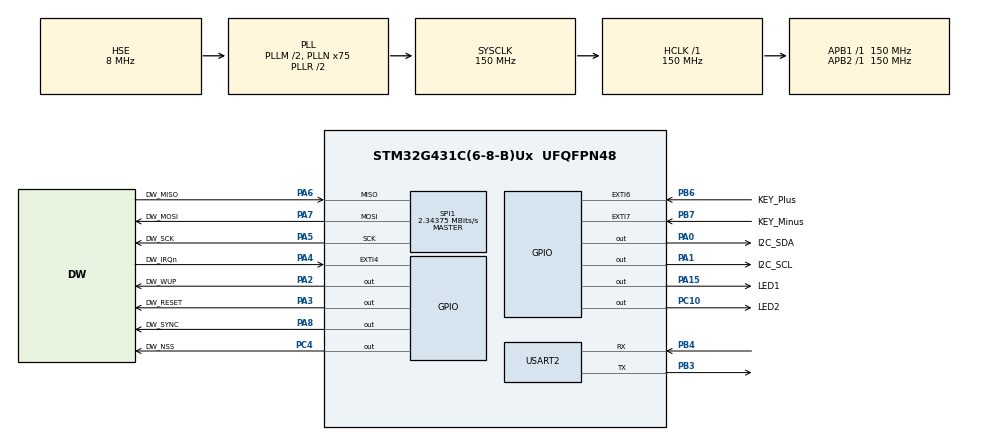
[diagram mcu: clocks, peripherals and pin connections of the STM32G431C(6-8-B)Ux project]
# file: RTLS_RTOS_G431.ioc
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Dma.Request0=USART2_RX
Dma.Request1=USART2_TX
Dma.USART2_RX.0.Direction=DMA_PERIPH_TO_MEMORY
Dma.USART2_RX.0.EventEnable=DISABLE
Dma.USART2_RX.0.Instance=DMA1_Channel1
Dma.USART2_RX.0.MemDataAlignment=DMA_MDATAALIGN_BYTE
Dma.USART2_RX.0.MemInc=DMA_MINC_ENABLE
Dma.USART2_RX.0.Mode=DMA_CIRCULAR
Dma.USART2_RX.0.PeriphDataAlignment=DMA_PDATAALIGN_BYTE
Dma.USART2_RX.0.PeriphInc=DMA_PINC_DISABLE
Dma.USART2_RX.0.Polarity=HAL_DMAMUX_REQ_GEN_RISING
Dma.USART2_RX.0.Priority=DMA_PRIORITY_LOW
Dma.USART2_RX.0.RequestNumber=1
Dma.USART2_RX.0.SignalID=NONE
Dma.USART2_RX.0.SyncEnable=DISABLE
Dma.USART2_RX.0.SyncPolarity=HAL_DMAMUX_SYNC_NO_EVENT
Dma.USART2_RX.0.SyncRequestNumber=1
Dma.USART2_RX.0.SyncSignalID=NONE
Dma.USART2_TX.1.Direction=DMA_MEMORY_TO_PERIPH
Dma.USART2_TX.1.EventEnable=DISABLE
Dma.USART2_TX.1.Instance=DMA1_Channel2
Dma.USART2_TX.1.MemDataAlignment=DMA_MDATAALIGN_BYTE
Dma.USART2_TX.1.MemInc=DMA_MINC_ENABLE
Dma.USART2_TX.1.Mode=DMA_NORMAL
Dma.USART2_TX.1.PeriphDataAlignment=DMA_PDATAALIGN_BYTE
Dma.USART2_TX.1.PeriphInc=DMA_PINC_DISABLE
Dma.USART2_TX.1.Polarity=HAL_DMAMUX_REQ_GEN_RISING
Dma.USART2_TX.1.Priority=DMA_PRIORITY_LOW
Dma.USART2_TX.1.RequestNumber=1
Dma.USART2_TX.1.SignalID=NONE
Dma.USART2_TX.1.SyncEnable=DISABLE
Dma.USART2_TX.1.SyncPolarity=HAL_DMAMUX_SYNC_NO_EVENT
Dma.USART2_TX.1.SyncRequestNumber=1
Dma.USART2_TX.1.SyncSignalID=NONE
FREERTOS.BinarySemaphores01=KEY_EVENT_SEMA,Dynamic,NULL;UART_RX_SEMA,Dynamic,NULL
FREERTOS.Events01=KEY_EVENT,Dynamic,NULL
FREERTOS.INCLUDE_xSemaphoreGetMutexHolder=1
FREERTOS.Queues01=FLASH_LED_Q,1,LED_Param,0,Dynamic,NULL,NULL;SerialOut_Q,4,uint8_t,0,Dynamic,NULL,NULL
FREERTOS.Tasks01=defaultTask,24,80,StartDefaultTask,Default,NULL,Dynamic,NULL,NULL;Flash_LED,24,100,Flash_LED_Task,Default,NULL,Dynamic,NULL,NULL;Key_Event_Scan,24,100,Key_Event_Scan_Task,Default,NULL,Dynamic,NULL,NULL;Key_Process,24,80,Key_Process_Task,Default,NULL,Dynamic,NULL,NULL;Task_Status,32,200,Task_Status_Task,Default,NULL,Dynamic,NULL,NULL;Parse_RX,24,150,Parse_RX_Task,Default,NULL,Dynamic,NULL,NULL;OLED_Display,24,150,OLED_Display_Task,Default,NULL,Dynamic,NULL,NULL;DW_Init,24,150,DW_Init_Task,As external,NULL,Dynamic,NULL,NULL;DW_Main,16,350,DW_Main_Task,As external,NULL,Dynamic,NULL,NULL;SerialOut,15,120,SerialOut_Task,Default,NULL,Dynamic,NULL,NULL
FREERTOS.configENABLE_FPU=1
FREERTOS.configGENERATE_RUN_TIME_STATS=1
FREERTOS.configMINIMAL_STACK_SIZE=64
FREERTOS.configTOTAL_HEAP_SIZE=16384
FREERTOS.configUSE_STATS_FORMATTING_FUNCTIONS=1
FREERTOS.configUSE_TICKLESS_IDLE=1
IWDG.Prescaler=IWDG_PRESCALER_16
Mcu.Family=STM32G4
Mcu.Name=STM32G431C(6-8-B)Ux
Mcu.Package=UFQFPN48
NVIC.DMA1_Channel1_IRQn=true\:5\:0\:false\:false\:true\:true\:false\:true\:true
NVIC.DMA1_Channel2_IRQn=true\:5\:0\:false\:false\:true\:true\:false\:true\:true
NVIC.EXTI4_IRQn=true\:5\:0\:true\:false\:true\:true\:true\:true\:true
NVIC.EXTI9_5_IRQn=true\:5\:0\:true\:false\:true\:true\:true\:true\:true
NVIC.PriorityGroup=NVIC_PRIORITYGROUP_4
NVIC.TIM6_DAC_IRQn=true\:5\:0\:false\:false\:true\:true\:true\:true\:true
NVIC.TIM7_IRQn=true\:15\:0\:false\:false\:true\:false\:false\:true\:true
NVIC.TimeBase=TIM7_IRQn
NVIC.TimeBaseIP=TIM7
NVIC.USART2_IRQn=true\:5\:0\:false\:false\:true\:true\:true\:true\:true
PA0.GPIO_Label=I2C_SDA
PA0.GPIO_ModeDefaultOutputPP=GPIO_MODE_OUTPUT_OD
PA0.GPIO_PuPd=GPIO_NOPULL
PA0.GPIO_Speed=GPIO_SPEED_FREQ_MEDIUM
PA0.Signal=GPIO_Output
PA1.GPIO_Label=I2C_SCL
PA1.GPIO_ModeDefaultOutputPP=GPIO_MODE_OUTPUT_OD
PA1.GPIO_PuPd=GPIO_NOPULL
PA1.GPIO_Speed=GPIO_SPEED_FREQ_MEDIUM
PA1.Signal=GPIO_Output
PA13.Mode=Serial_Wire
PA13.Signal=SYS_JTMS-SWDIO
PA14.Mode=Serial_Wire
PA14.Signal=SYS_JTCK-SWCLK
PA15.GPIO_Label=LED1
PA15.PinState=GPIO_PIN_SET
PA15.Signal=GPIO_Output
PA2.GPIO_Label=DW_WUP
PA2.GPIO_PuPd=GPIO_PULLDOWN
PA2.Signal=GPIO_Output
PA3.GPIO_Label=DW_RESET
PA3.GPIO_ModeDefaultOutputPP=GPIO_MODE_OUTPUT_OD
PA3.GPIO_PuPd=GPIO_NOPULL
PA3.GPIO_Speed=GPIO_SPEED_FREQ_LOW
PA3.Signal=GPIO_Output
PA4.GPIO_Label=DW_IRQn
PA4.GPIO_PuPd=GPIO_PULLDOWN
PA4.Signal=GPXTI4
PA5.GPIO_Label=DW_SCK
PA5.GPIO_Speed=GPIO_SPEED_FREQ_VERY_HIGH
PA5.Mode=Full_Duplex_Master
PA5.Signal=SPI1_SCK
PA6.GPIO_Label=DW_MISO
PA6.GPIO_Speed=GPIO_SPEED_FREQ_VERY_HIGH
PA6.Mode=Full_Duplex_Master
PA6.Signal=SPI1_MISO
PA7.GPIO_Label=DW_MOSI
PA7.GPIO_Speed=GPIO_SPEED_FREQ_VERY_HIGH
PA7.Mode=Full_Duplex_Master
PA7.Signal=SPI1_MOSI
PA8.GPIO_Label=DW_SYNC
PA8.GPIO_Speed=GPIO_SPEED_FREQ_HIGH
PA8.Signal=GPIO_Output
PB3.Mode=Asynchronous
PB3.Signal=USART2_TX
PB4.Mode=Asynchronous
PB4.Signal=USART2_RX
PB6.GPIO_Label=KEY_Plus
PB6.GPIO_ModeDefaultEXTI=GPIO_MODE_IT_RISING_FALLING
PB6.GPIO_PuPd=GPIO_PULLUP
PB6.Signal=GPXTI6
PB7.GPIO_Label=KEY_Minus
PB7.GPIO_ModeDefaultEXTI=GPIO_MODE_IT_RISING_FALLING
PB7.GPIO_PuPd=GPIO_PULLUP
PB7.Signal=GPXTI7
PC10.GPIO_Label=LED2
PC10.PinState=GPIO_PIN_SET
PC10.Signal=GPIO_Output
PC4.GPIO_Label=DW_NSS
PC4.GPIO_PuPd=GPIO_PULLUP
PC4.GPIO_Speed=GPIO_SPEED_FREQ_MEDIUM
PC4.Signal=GPIO_Output
PF0-OSC_IN.Mode=HSE-External-Oscillator
PF0-OSC_IN.Signal=RCC_OSC_IN
PF1-OSC_OUT.Mode=HSE-External-Oscillator
PF1-OSC_OUT.Signal=RCC_OSC_OUT
ProjectManager.HeapSize=0x200
ProjectManager.StackSize=0x200
ProjectManager.TargetToolchain=Makefile
RCC.ADC12Freq_Value=150000000
RCC.AHBFreq_Value=150000000
RCC.APB1Freq_Value=150000000
RCC.APB1TimFreq_Value=150000000
RCC.APB2Freq_Value=150000000
RCC.APB2TimFreq_Value=150000000
RCC.CortexFreq_Value=150000000
RCC.EXTERNAL_CLOCK_VALUE=12288000
RCC.HCLKFreq_Value=150000000
RCC.HSE_VALUE=8000000
RCC.HSI48_VALUE=48000000
RCC.HSI_VALUE=16000000
RCC.LSE_VALUE=32768
RCC.PLLM=RCC_PLLM_DIV2
RCC.PLLN=75
RCC.PLLSourceVirtual=RCC_PLLSOURCE_HSE
RCC.PWR_Regulator_Voltage_Scale=PWR_REGULATOR_VOLTAGE_SCALE1
RCC.SYSCLKFreq_VALUE=150000000
RCC.SYSCLKSource=RCC_SYSCLKSOURCE_PLLCLK
RCC.USART2CLockSelection=RCC_USART2CLKSOURCE_HSI
RCC.USBFreq_Value=150000000
RCC.VCOOutputFreq_Value=300000000
SPI1.BaudRatePrescaler=SPI_BAUDRATEPRESCALER_64
SPI1.CalculateBaudRate=2.34375 MBits/s
SPI1.DataSize=SPI_DATASIZE_8BIT
SPI1.Direction=SPI_DIRECTION_2LINES
SPI1.Mode=SPI_MODE_MASTER
SPI1.VirtualType=VM_MASTER
TIM6.PeriodNoDither=60-1
TIM6.Prescaler=150-1
USART2.VirtualMode-Asynchronous=VM_ASYNC
VP_FREERTOS_VS_CMSIS_V2.Mode=CMSIS_V2
VP_IWDG_VS_IWDG.Mode=IWDG_Activate
VP_SYS_VS_DBSignals.Mode=DisableDeadBatterySignals
VP_SYS_VS_tim7.Mode=TIM7
VP_TIM6_VS_ClockSourceINT.Mode=Enable_Timer
board=custom

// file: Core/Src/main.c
/* USER CODE BEGIN Header */
/**
 ******************************************************************************
 * @file           : main.c
 * @brief          : Main program body
 ******************************************************************************
 * @attention
 *
 * Copyright (c) 2023 STMicroelectronics.
 * All rights reserved.
 *
 * This software is licensed under terms that can be found in the LICENSE file
 * in the root directory of this software component.
 * If no LICENSE file comes with this software, it is provided AS-IS.
 *
 ******************************************************************************
 */
/* USER CODE END Header */
#include "main.h"
#include "cmsis_os.h"
#include "dma.h"
#include "iwdg.h"
#include "spi.h"
#include "tim.h"
#include "usart.h"
#include "gpio.h"

/* USER CODE BEGIN Includes */
#include "key.h"
#include "delay.h"
#include "ctiic.h"
#include "ssd1306.h"
#include "eeprom.h"
#include "dw_app.h"
#include <errno.h>
#include <sys/unistd.h>
/* USER CODE END Includes */

/* USER CODE BEGIN PD */
#define SOFTWARE_VER_STRING "RTLS V1"
/* USER CODE END PD */

/* USER CODE BEGIN PV */
#if configGENERATE_RUN_TIME_STATS == 1
uint32_t g_osRuntimeCounter = 0;
#endif
extern uint8_t UART_RX_BUF[1];
/* USER CODE END PV */

void SystemClock_Config(void);
void MX_FREERTOS_Init(void);

int main(void)
{

  /* MCU Configuration--------------------------------------------------------*/

  /* Reset of all peripherals, Initializes the Flash interface and the Systick. */
  HAL_Init();

  /* Configure the system clock */
  SystemClock_Config();

  /* Initialize all configured peripherals */
  MX_GPIO_Init();
  MX_DMA_Init();
  MX_IWDG_Init();
  MX_SPI1_Init();
  MX_USART2_UART_Init();
  MX_TIM6_Init();
  /* USER CODE BEGIN 2 */
  delay_init();
  KEY_Config();
  SSD1306_Init();
  LCD_Title(SOFTWARE_VER_STRING);

  HAL_TIM_Base_Start_IT(&htim6);
  HAL_UART_Receive_DMA(&huart2, &UART_RX_BUF[0], 1);
  HAL_IWDG_Refresh(&hiwdg);
  if (AT24CXX_Check())
  {
    Write_UWB_Default_Param();
    AT24CXX_WriteOneByte(0x000, EEPROM_DATAFORMAT);
    HAL_Delay(20);
  }
  init_UWB_User_Param();
  LCD_DISPLAY_UWB();
  /* USER CODE END 2 */

  /* Init scheduler */
  osKernelInitialize(); /* Call init function for freertos objects (in freertos.c) */
  MX_FREERTOS_Init();

  /* Start scheduler */
  osKernelStart();

  /* We should never get here as control is now taken by the scheduler */
  /* Infinite loop */
  while (1)
  {

  }
}

void SystemClock_Config(void)
{
  RCC_OscInitTypeDef RCC_OscInitStruct = {0};
  RCC_ClkInitTypeDef RCC_ClkInitStruct = {0};

  /** Configure the main internal regulator output voltage
   */
  HAL_PWREx_ControlVoltageScaling(PWR_REGULATOR_VOLTAGE_SCALE1);

  /** Initializes the RCC Oscillators according to the specified parameters
   * in the RCC_OscInitTypeDef structure.
   */
  RCC_OscInitStruct.OscillatorType = RCC_OSCILLATORTYPE_HSI | RCC_OSCILLATORTYPE_LSI | RCC_OSCILLATORTYPE_HSE;
  RCC_OscInitStruct.HSEState = RCC_HSE_ON;
  RCC_OscInitStruct.HSIState = RCC_HSI_ON;
  RCC_OscInitStruct.HSICalibrationValue = RCC_HSICALIBRATION_DEFAULT;
  RCC_OscInitStruct.LSIState = RCC_LSI_ON;
  RCC_OscInitStruct.PLL.PLLState = RCC_PLL_ON;
  RCC_OscInitStruct.PLL.PLLSource = RCC_PLLSOURCE_HSE;
  RCC_OscInitStruct.PLL.PLLM = RCC_PLLM_DIV2;
  RCC_OscInitStruct.PLL.PLLN = 75;
  RCC_OscInitStruct.PLL.PLLP = RCC_PLLP_DIV2;
  RCC_OscInitStruct.PLL.PLLQ = RCC_PLLQ_DIV2;
  RCC_OscInitStruct.PLL.PLLR = RCC_PLLR_DIV2;
  if (HAL_RCC_OscConfig(&RCC_OscInitStruct) != HAL_OK)
  {
    Error_Handler();
  }

  /** Initializes the CPU, AHB and APB buses clocks
   */
  RCC_ClkInitStruct.ClockType = RCC_CLOCKTYPE_HCLK | RCC_CLOCKTYPE_SYSCLK | RCC_CLOCKTYPE_PCLK1 | RCC_CLOCKTYPE_PCLK2;
  RCC_ClkInitStruct.SYSCLKSource = RCC_SYSCLKSOURCE_PLLCLK;
  RCC_ClkInitStruct.AHBCLKDivider = RCC_SYSCLK_DIV1;
  RCC_ClkInitStruct.APB1CLKDivider = RCC_HCLK_DIV1;
  RCC_ClkInitStruct.APB2CLKDivider = RCC_HCLK_DIV1;

  if (HAL_RCC_ClockConfig(&RCC_ClkInitStruct, FLASH_LATENCY_4) != HAL_OK)
  {
    Error_Handler();
  }
}

/* USER CODE BEGIN 4 */
int _write(int file, char *data, int len)
{
  if ((file != STDOUT_FILENO) && (file != STDERR_FILENO))
  {
    errno = EBADF;
    return -1;
  }

  // memcpy(UART_Transmit_Buff, data, len);
  //  arbitrary timeout 1000

  HAL_StatusTypeDef status =
      HAL_UART_Transmit(&huart2, (uint8_t *)data, len, 1000);

  // return # of bytes written - as best we can tell

  /* while (!__HAL_UART_GET_FLAG(&huart1, UART_FLAG_TC))
    ; */
  // memset(UART_Transmit_Buff, 0, 50);
  return (status == HAL_OK ? len : 0);
}
/* USER CODE END 4 */

void HAL_TIM_PeriodElapsedCallback(TIM_HandleTypeDef *htim)
{
  if (htim->Instance == TIM7)
  {
    HAL_IncTick();
  }
  /* USER CODE BEGIN Callback 1 */
  if (htim->Instance == TIM6)
    g_osRuntimeCounter++;
  /* USER CODE END Callback 1 */
}

void Error_Handler(void)
{
  __disable_irq();
  while (1)
  {
  }
}

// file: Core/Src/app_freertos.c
/* USER CODE BEGIN Header */
/**
 ******************************************************************************
 * File Name          : app_freertos.c
 * Description        : Code for freertos applications
 ******************************************************************************
 * @attention
 *
 * Copyright (c) 2023 STMicroelectronics.
 * All rights reserved.
 *
 * This software is licensed under terms that can be found in the LICENSE file
 * in the root directory of this software component.
 * If no LICENSE file comes with this software, it is provided AS-IS.
 *
 ******************************************************************************
 */
/* USER CODE END Header */

#include "FreeRTOS.h"
#include "task.h"
#include "main.h"
#include "cmsis_os.h"

/* USER CODE BEGIN Includes */
#include "key.h"
#include "iwdg.h"
#include "led.h"
#include "stdio.h"
#include "string.h"
#include "usart.h"
#include "ssd1306.h"
#include "eeprom.h"
#include "dw_app.h"
/* USER CODE END Includes */

/* USER CODE BEGIN PD */
// #define __DEBUG_INFO
/* USER CODE END PD */

/* USER CODE BEGIN Variables */
#if configGENERATE_RUN_TIME_STATS == 1
extern uint32_t g_osRuntimeCounter;

#endif
extern uint8_t UART_RX_DATA[256];
/* USER CODE END Variables */
/* Definitions for defaultTask */
osThreadId_t defaultTaskHandle;
const osThreadAttr_t defaultTask_attributes = {
    .name = "defaultTask",
    .priority = (osPriority_t)osPriorityNormal,
    .stack_size = 80 * 4};
/* Definitions for Flash_LED */
osThreadId_t Flash_LEDHandle;
const osThreadAttr_t Flash_LED_attributes = {
    .name = "Flash_LED",
    .priority = (osPriority_t)osPriorityNormal,
    .stack_size = 100 * 4};
/* Definitions for Key_Event_Scan */
osThreadId_t Key_Event_ScanHandle;
const osThreadAttr_t Key_Event_Scan_attributes = {
    .name = "Key_Event_Scan",
    .priority = (osPriority_t)osPriorityNormal,
    .stack_size = 100 * 4};
/* Definitions for Key_Process */
osThreadId_t Key_ProcessHandle;
const osThreadAttr_t Key_Process_attributes = {
    .name = "Key_Process",
    .priority = (osPriority_t)osPriorityNormal,
    .stack_size = 80 * 4};
/* Definitions for Task_Status */
osThreadId_t Task_StatusHandle;
const osThreadAttr_t Task_Status_attributes = {
    .name = "Task_Status",
    .priority = (osPriority_t)osPriorityAboveNormal,
    .stack_size = 200 * 4};
/* Definitions for Parse_RX */
osThreadId_t Parse_RXHandle;
const osThreadAttr_t Parse_RX_attributes = {
    .name = "Parse_RX",
    .priority = (osPriority_t)osPriorityNormal,
    .stack_size = 150 * 4};
/* Definitions for OLED_Display */
osThreadId_t OLED_DisplayHandle;
const osThreadAttr_t OLED_Display_attributes = {
    .name = "OLED_Display",
    .priority = (osPriority_t)osPriorityNormal,
    .stack_size = 150 * 4};
/* Definitions for DW_Init */
osThreadId_t DW_InitHandle;
const osThreadAttr_t DW_Init_attributes = {
    .name = "DW_Init",
    .priority = (osPriority_t)osPriorityNormal,
    .stack_size = 150 * 4};
/* Definitions for DW_Main */
osThreadId_t DW_MainHandle;
const osThreadAttr_t DW_Main_attributes = {
    .name = "DW_Main",
    .priority = (osPriority_t)osPriorityBelowNormal,
    .stack_size = 350 * 4};
/* Definitions for SerialOut */
osThreadId_t SerialOutHandle;
const osThreadAttr_t SerialOut_attributes = {
    .name = "SerialOut",
    .priority = (osPriority_t)osPriorityLow7,
    .stack_size = 120 * 4};
/* Definitions for FLASH_LED_Q */
osMessageQueueId_t FLASH_LED_QHandle;
const osMessageQueueAttr_t FLASH_LED_Q_attributes = {
    .name = "FLASH_LED_Q"};
/* Definitions for SerialOut_Q */
osMessageQueueId_t SerialOut_QHandle;
const osMessageQueueAttr_t SerialOut_Q_attributes = {
    .name = "SerialOut_Q"};
/* Definitions for KEY_EVENT_SEMA */
osSemaphoreId_t KEY_EVENT_SEMAHandle;
const osSemaphoreAttr_t KEY_EVENT_SEMA_attributes = {
    .name = "KEY_EVENT_SEMA"};
/* Definitions for UART_RX_SEMA */
osSemaphoreId_t UART_RX_SEMAHandle;
const osSemaphoreAttr_t UART_RX_SEMA_attributes = {
    .name = "UART_RX_SEMA"};
/* Definitions for KEY_EVENT */
osEventFlagsId_t KEY_EVENTHandle;
const osEventFlagsAttr_t KEY_EVENT_attributes = {
    .name = "KEY_EVENT"};

void StartDefaultTask(void *argument);
void Flash_LED_Task(void *argument);
void Key_Event_Scan_Task(void *argument);
void Key_Process_Task(void *argument);
void Task_Status_Task(void *argument);
void Parse_RX_Task(void *argument);
void OLED_Display_Task(void *argument);
extern void DW_Init_Task(void *argument);
extern void DW_Main_Task(void *argument);
void SerialOut_Task(void *argument);

void MX_FREERTOS_Init(void); /* (MISRA C 2004 rule 8.1) */

/* Hook prototypes */
void configureTimerForRunTimeStats(void);
unsigned long getRunTimeCounterValue(void);

/* USER CODE BEGIN 1 */
/* Functions needed when configGENERATE_RUN_TIME_STATS is on */
__weak void configureTimerForRunTimeStats(void)
{
  g_osRuntimeCounter = 0;
}

__weak unsigned long getRunTimeCounterValue(void)
{
  return g_osRuntimeCounter;
}
/* USER CODE END 1 */

/* USER CODE BEGIN PREPOSTSLEEP */
__weak void PreSleepProcessing(uint32_t ulExpectedIdleTime)
{
  /* place for user code */
}

__weak void PostSleepProcessing(uint32_t ulExpectedIdleTime)
{
  /* place for user code */
}
/* USER CODE END PREPOSTSLEEP */

void MX_FREERTOS_Init(void)
{

  /* Create the semaphores(s) */
  /* creation of KEY_EVENT_SEMA */
  KEY_EVENT_SEMAHandle = osSemaphoreNew(1, 1, &KEY_EVENT_SEMA_attributes);

  /* creation of UART_RX_SEMA */
  UART_RX_SEMAHandle = osSemaphoreNew(1, 1, &UART_RX_SEMA_attributes);

  /* Create the queue(s) */
  /* creation of FLASH_LED_Q */
  FLASH_LED_QHandle = osMessageQueueNew(1, sizeof(LED_Param), &FLASH_LED_Q_attributes);

  /* creation of SerialOut_Q */
  SerialOut_QHandle = osMessageQueueNew(4, sizeof(uint8_t), &SerialOut_Q_attributes);

  /* Create the thread(s) */
  /* creation of defaultTask */
  defaultTaskHandle = osThreadNew(StartDefaultTask, NULL, &defaultTask_attributes);

  /* creation of Flash_LED */
  Flash_LEDHandle = osThreadNew(Flash_LED_Task, NULL, &Flash_LED_attributes);

  /* creation of Key_Event_Scan */
  Key_Event_ScanHandle = osThreadNew(Key_Event_Scan_Task, NULL, &Key_Event_Scan_attributes);

  /* creation of Key_Process */
  Key_ProcessHandle = osThreadNew(Key_Process_Task, NULL, &Key_Process_attributes);

  /* creation of Task_Status */
  Task_StatusHandle = osThreadNew(Task_Status_Task, NULL, &Task_Status_attributes);

  /* creation of Parse_RX */
  Parse_RXHandle = osThreadNew(Parse_RX_Task, NULL, &Parse_RX_attributes);

  /* creation of OLED_Display */
  OLED_DisplayHandle = osThreadNew(OLED_Display_Task, NULL, &OLED_Display_attributes);

  /* creation of DW_Init */
  DW_InitHandle = osThreadNew(DW_Init_Task, NULL, &DW_Init_attributes);

  /* creation of DW_Main */
  DW_MainHandle = osThreadNew(DW_Main_Task, NULL, &DW_Main_attributes);

  /* creation of SerialOut */
  SerialOutHandle = osThreadNew(SerialOut_Task, NULL, &SerialOut_attributes);

  /* Create the event(s) */
  /* creation of KEY_EVENT */
  KEY_EVENTHandle = osEventFlagsNew(&KEY_EVENT_attributes);

}

void StartDefaultTask(void *argument)
{
  /* USER CODE BEGIN StartDefaultTask */
  ulTaskNotifyTake(pdTRUE, portMAX_DELAY);
  /* Infinite loop */
  for (;;)
  {
    HAL_IWDG_Refresh(&hiwdg);
    HAL_GPIO_TogglePin(LED2_GPIO_Port, LED2_Pin);
    osDelay(500);
  }
  /* USER CODE END StartDefaultTask */
}

void Flash_LED_Task(void *argument)
{
  /* USER CODE BEGIN Flash_LED_Task */
  /* Infinite loop */
  for (LED_Param led_param;;)
  {
    if (pdTRUE == xQueueReceive(FLASH_LED_QHandle, (void *)&led_param, portMAX_DELAY))
      Flash_LED(led_param.led, led_param.interval, led_param.count, led_param.cond);
    osDelay(50);
  }
  /* USER CODE END Flash_LED_Task */
}

void Key_Event_Scan_Task(void *argument)
{
  /* USER CODE BEGIN Key_Event_Scan_Task */
  /* Infinite loop */
  for (;;)
  {
    if (pdTRUE == xSemaphoreTake(KEY_EVENT_SEMAHandle, portMAX_DELAY))
      KEY_Scan();
    osDelay(50);
  }
  /* USER CODE END Key_Event_Scan_Task */
}

void Key_Process_Task(void *argument)
{
  /* USER CODE BEGIN Key_Process_Task */
  /* Infinite loop */
  for (;;)
  {
    for (int i = 0; i < KEYS; i++)
      KEY_Process(i);
    osDelay(pdMS_TO_TICKS(100));
  }
  /* USER CODE END Key_Process_Task */
}

/* USER CODE BEGIN Header_Task_Status_Task */
/**
 * @brief Function implementing the Task_Status thread.
 * @param argument: Not used
 * @retval None
 */
#if configGENERATE_RUN_TIME_STATS == 1
char tasks_buf[512];
#endif
/* USER CODE END Header_Task_Status_Task */
void Task_Status_Task(void *argument)
{
  /* USER CODE BEGIN Task_Status_Task */
  /* Infinite loop */
  for (;;)
  {
#ifdef __DEBUG_INFO
    memset(tasks_buf, 0, 512);
    printf("任务名称\t运行状态\t优先级\t剩余堆栈\t任务序号\r\n");
    printf("-------------------------------------------------------\r\n");
    vTaskList(tasks_buf);
    strcat((char *)tasks_buf, "-------------------------------------------------------\r\n");
    strcat((char *)tasks_buf, "B: 阻塞, R: 就绪, D: 删除, S: 暂停\r\n\r\n");
    printf("%s", tasks_buf);
    memset(tasks_buf, 0, 512);
    vTaskGetRunTimeStats(tasks_buf);
    printf("\r\n任务名称\t运行计数\t\t使用率\r\n");
    printf("----------------------------------------------\r\n");
    strcat((char *)tasks_buf, "---------------------结 束---------------------\r\n");
    printf("%s", tasks_buf);
    printf("剩余内存: %d bytes.\r\n\r\n", xPortGetFreeHeapSize());
#endif
    osDelay(3000);
  }
  /* USER CODE END Task_Status_Task */
}

void Parse_RX_Task(void *argument)
{
  /* USER CODE BEGIN Parse_RX_Task */
  /* Infinite loop */
  for (;;)
  {
    if (pdTRUE == xSemaphoreTake(UART_RX_SEMAHandle, portMAX_DELAY))
    {

      uint8_t rx_len = strlen((char *)UART_RX_DATA);
      LED_Param flashParam;
      flashParam.led = LED_YELLOW;
      flashParam.cond = LIGHT_OFF;
      flashParam.count = rx_len;
      flashParam.interval = 15;
      xQueueSend(FLASH_LED_QHandle, (void *)&flashParam, pdMS_TO_TICKS(500));

      taskENTER_CRITICAL();
      Parse_RX();
      memset(UART_RX_DATA, 0, 256);
      taskEXIT_CRITICAL();
    }
    osDelay(1);
  }
  /* USER CODE END Parse_RX_Task */
}

void OLED_Display_Task(void *argument)
{
  /* USER CODE BEGIN OLED_Display_Task */
  /* Infinite loop */
  LED_Param flashParam;
  for (uint8_t dead_time = 0;;)
  {
    // 进入设置模式后，无操作大约3秒，自动退出并保存参数，并重启模块
    if (dead_time > 15)
    {
      xEventGroupClearBits(KEY_EVENTHandle, EVENTBIT_KEY_MINUS_LONGPRESS | EVENTBIT_KEY_PLUS_LONGPRESS);
      save_UWB_User_Param();
      flashParam.led = LED_YELLOW;
      flashParam.cond = LIGHT_OFF;
      flashParam.count = 4;
      flashParam.interval = 40;
      xQueueSend(FLASH_LED_QHandle, (void *)&flashParam, pdMS_TO_TICKS(500));
      dead_time = 0;
      LCD_DISPLAY_UWB();
      vTaskDelete(DW_MainHandle);
      osDelay(10);
      DW_MainHandle = osThreadNew(DW_Main_Task, NULL, &DW_Main_attributes);
      osDelay(50);
      DW_InitHandle = osThreadNew(DW_Init_Task, NULL, &DW_Init_attributes);
    }
    EventBits_t event = xEventGroupWaitBits(KEY_EVENTHandle,
                                            EVENTBIT_KEY_PLUS_LONGPRESS | EVENTBIT_KEY_MINUS_LONGPRESS,
                                            pdFALSE, pdFALSE, portMAX_DELAY);
    EventBits_t event_click = xEventGroupWaitBits(KEY_EVENTHandle,
                                                  EVENTBIT_KEY_MINUS_CLICK | EVENTBIT_KEY_PLUS_CLICK,
                                                  pdTRUE, pdFALSE, 0);

    // 加号键长按，进入设备模式设置（基站还是标签）
    if ((event & EVENTBIT_MASK_KEY_PLUS_LONGPRESS) == EVENTBIT_KEY_PLUS_LONGPRESS)
    {
      // 闪烁在设置状态的参数显示
      if (dead_time % 2)
      {
        sprintf(row1_str, "        0x%04X", uwb_dup.device_address);
        LCD_DISPLAY(0, 16, row1_str);
      }
      else
      {
        LCD_DISPLAY_UWB();
      }
      if ((event_click & EVENTBIT_MASK_KEY_PLUS_CLICK) == EVENTBIT_KEY_PLUS_CLICK)
      {
        uwb_dup.device_mode ^= 1;
        dead_time = 1;
      }
      else if ((event_click & EVENTBIT_MASK_KEY_MINUS_CLICK) == EVENTBIT_KEY_MINUS_CLICK)
      {
        uwb_dup.device_mode ^= 1;
        dead_time = 1;
      }
    }
    // 减号键长按，进入设备地址设置
    else if ((event & EVENTBIT_MASK_KEY_MINUS_LONGPRESS) == EVENTBIT_KEY_MINUS_LONGPRESS)
    {
      if (dead_time % 2)
      {
        if (uwb_dup.device_mode)
          sprintf(row1_str, "Anchor        ");
        else
          sprintf(row1_str, "TAG           ");
        LCD_DISPLAY(0, 16, row1_str);
      }
      else
      {
        LCD_DISPLAY_UWB();
      }
      if ((event_click & EVENTBIT_MASK_KEY_PLUS_CLICK) == EVENTBIT_KEY_PLUS_CLICK)
      {
        dead_time = 1;
        uwb_dup.device_address++;
      }
      else if ((event_click & EVENTBIT_MASK_KEY_MINUS_CLICK) == EVENTBIT_KEY_MINUS_CLICK)
      {
        dead_time = 1;
        uwb_dup.device_address--;
      }
    }
    dead_time++;
    osDelay(200);
  }
  /* USER CODE END OLED_Display_Task */
}

void SerialOut_Task(void *argument)
{
  /* USER CODE BEGIN SerialOut_Task */
  char buff[20];
  /* Infinite loop */
  for (;;)
  {
    if (pdTRUE == xQueueReceive(SerialOut_QHandle, (void *)&buff[0], portMAX_DELAY))
      printf(buff);
    osDelay(1);
  }
  /* USER CODE END SerialOut_Task */
}
